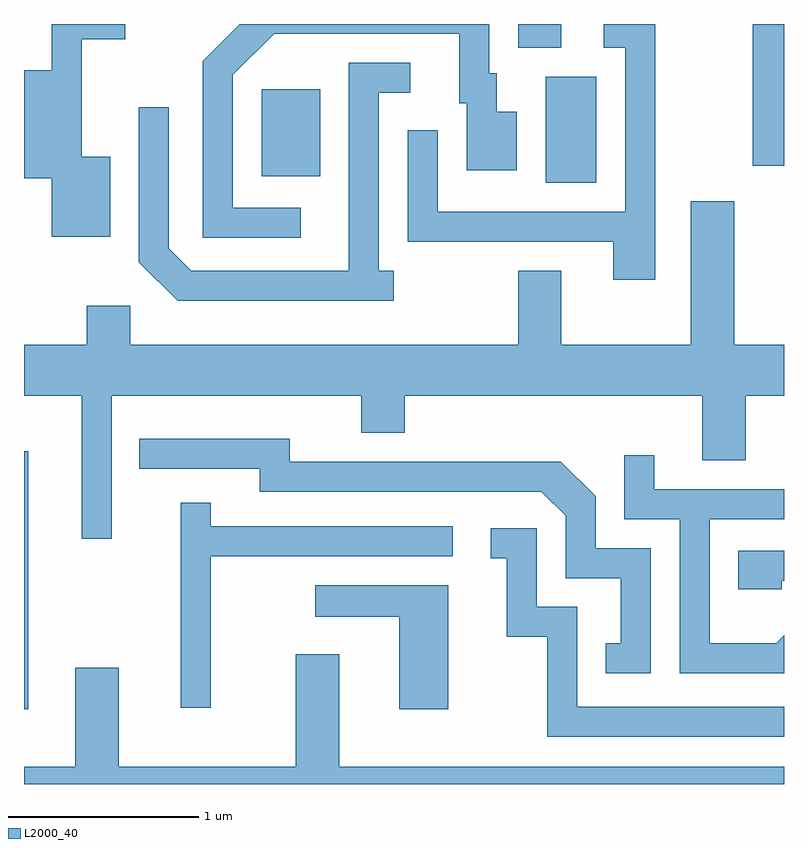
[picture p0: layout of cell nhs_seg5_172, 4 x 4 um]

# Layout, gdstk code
import gdstk
lib = gdstk.Library(unit=1e-6, precision=1e-09)
def R(c, l, rs):  # rectangles x0, y0, x1, y1
    for r in rs: c.add(gdstk.rectangle(r[:2], r[2:], *l))
def P(c, l, *ps):  # polygons
    for p in ps: c.add(gdstk.Polygon(p, *l))
L2000_40 = (2000, 40)

nhs_seg5_172 = lib.new_cell('nhs_seg5_172')
R(nhs_seg5_172, L2000_40, [(189.611,1468.466,189.634,1469.824), (192.356,1471.236,192.624,1471.794), (190.861,1471.271,191.169,1471.729), (193.446,1471.326,193.611,1472.072), (192.211,1471.946,192.439,1472.072)])
P(nhs_seg5_172, L2000_40, [(190.064,1471.374),(189.914,1471.374),(189.914,1471.991),(190.143,1471.991),(190.143,1472.072),(189.756,1472.072),(189.756,1471.829),(189.611,1471.829),(189.611,1471.261),(189.756,1471.261),(189.756,1470.951),(190.064,1470.951)],
  [(191.068,1471.104),(190.709,1471.104),(190.709,1471.804),(190.927,1472.021),(191.901,1472.021),(191.901,1471.656),(191.941,1471.656),(191.941,1471.301),(192.204,1471.301),(192.204,1471.609),(192.099,1471.609),(192.099,1471.814),(192.059,1471.814),(192.059,1472.072),(190.747,1472.072),(190.551,1471.877),(190.551,1470.946),(191.068,1470.946)],
  [(192.934,1472.072),(192.663,1472.072),(192.663,1471.946),(192.776,1471.946),(192.776,1471.084),(191.789,1471.084),(191.789,1471.513),(191.631,1471.513),(191.631,1470.926),(192.711,1470.926),(192.711,1470.726),(192.934,1470.726)],
  [(191.558,1470.774),(191.479,1470.774),(191.479,1471.711),(191.643,1471.711),(191.643,1471.869),(191.321,1471.869),(191.321,1470.774),(190.492,1470.774),(190.374,1470.892),(190.374,1471.633),(190.216,1471.633),(190.216,1470.819),(190.419,1470.616),(191.558,1470.616)],
  [(190.074,1470.116),(191.386,1470.116),(191.386,1469.921),(191.614,1469.921),(191.614,1470.116),(193.181,1470.116),(193.181,1469.776),(193.409,1469.776),(193.409,1470.116),(193.611,1470.116),(193.611,1470.384),(193.349,1470.384),(193.349,1471.139),(193.121,1471.139),(193.121,1470.384),(192.439,1470.384),(192.439,1470.774),(192.211,1470.774),(192.211,1470.384),(190.169,1470.384),(190.169,1470.589),(189.941,1470.589),(189.941,1470.384),(189.611,1470.384),(189.611,1470.116),(189.916,1470.116),(189.916,1469.363),(190.074,1469.363)],
  [(192.909,1469.314),(192.619,1469.314),(192.619,1469.587),(192.437,1469.769),(191.009,1469.769),(191.009,1469.889),(190.218,1469.889),(190.218,1469.731),(190.851,1469.731),(190.851,1469.611),(192.334,1469.611),(192.461,1469.484),(192.461,1469.156),(192.751,1469.156),(192.751,1468.814),(192.673,1468.814),(192.673,1468.656),(192.909,1468.656)],
  [(193.611,1468.856),(193.569,1468.814),(193.219,1468.814),(193.219,1469.466),(193.611,1469.466),(193.611,1469.624),(192.929,1469.624),(192.929,1469.803),(192.771,1469.803),(192.771,1469.466),(193.061,1469.466),(193.061,1468.656),(193.611,1468.656)],
  [(190.594,1469.271),(191.868,1469.271),(191.868,1469.429),(190.594,1469.429),(190.594,1469.553),(190.436,1469.553),(190.436,1468.473),(190.594,1468.473)],
  [(193.611,1468.479),(192.524,1468.479),(192.524,1469.004),(192.309,1469.004),(192.309,1469.419),(192.068,1469.419),(192.068,1469.261),(192.151,1469.261),(192.151,1468.846),(192.366,1468.846),(192.366,1468.321),(193.611,1468.321)],
  [(193.599,1469.141),(193.611,1469.141),(193.611,1469.299),(193.371,1469.299),(193.371,1469.096),(193.599,1469.096)],
  [(191.844,1469.119),(191.143,1469.119),(191.143,1468.951),(191.586,1468.951),(191.586,1468.466),(191.844,1468.466)],
  [(193.611,1468.164),(191.269,1468.164),(191.269,1468.754),(191.041,1468.754),(191.041,1468.164),(190.109,1468.164),(190.109,1468.684),(189.881,1468.684),(189.881,1468.164),(189.611,1468.164),(189.611,1468.072),(193.611,1468.072)])

lib.write_gds('nhs_seg5_172.gds')
